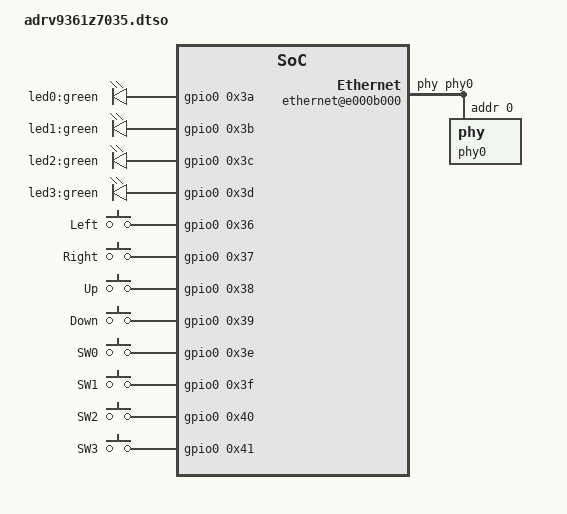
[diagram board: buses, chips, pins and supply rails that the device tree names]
/dts-v1/;
/plugin/;


/ {
    fragment@0 {
        target-path = "/";  // This means: apply to the root node
        __overlay__ {
            leds {
                compatible = "gpio-leds";

                led0 {
                    label = "led0:green";
                    gpios = <&gpio0 0x3a 0x0>;
                };

                led1 {
                    label = "led1:green";
                    gpios = <&gpio0 0x3b 0x0>;
                };

                led2 {
                    label = "led2:green";
                    gpios = <&gpio0 0x3c 0x0>;
                };

                led3 {
                    label = "led3:green";
                    gpios = <&gpio0 0x3d 0x0>;
                };
            };

            gpio_keys {
                compatible = "gpio-keys";
                #address-cells = <0x1>;
                #size-cells = <0x0>;
                autorepeat;

                pb0 {
                    label = "Left";
                    linux,code = <0x69>;
                    gpios = <&gpio0 0x36 0x0>;
                };

                pb1 {
                    label = "Right";
                    linux,code = <0x6a>;
                    gpios = <&gpio0 0x37 0x0>;
                };

                pb2 {
                    label = "Up";
                    linux,code = <0x67>;
                    gpios = <&gpio0 0x38 0x0>;
                };

                pb3 {
                    label = "Down";
                    linux,code = <0x6c>;
                    gpios = <&gpio0 0x39 0x0>;
                };

                sw0 {
                    label = "SW0";
                    linux,input-type = <0x5>;
                    linux,code = <0x0>;
                    gpios = <&gpio0 0x3e 0x0>;
                };

                sw1 {
                    label = "SW1";
                    linux,input-type = <0x5>;
                    linux,code = <0x1>;
                    gpios = <&gpio0 0x3f 0x0>;
                };

                sw2 {
                    label = "SW2";
                    linux,input-type = <0x5>;
                    linux,code = <0x2>;
                    gpios = <&gpio0 0x40 0x0>;
                };

                sw3 {
                    label = "SW3";
                    linux,input-type = <0x5>;
                    linux,code = <0x3>;
                    gpios = <&gpio0 0x41 0x0>;
                };
            };
        };
    };

    
    // Fix ethernet node in tree
	fragment@2{
		target-path = "/amba/ethernet@e000b000";
		__overlay__{
			phy-handle = <&phy0>;
			phy0: phy@0 {
				device_type = "ethernet-phy";
				reg = <0x0>;
				marvell,reg-init = <0x3 0x10 0xff00 0x1e 0x3 0x11 0xfff0 0x0>;
			};
		};

	};
    
};
